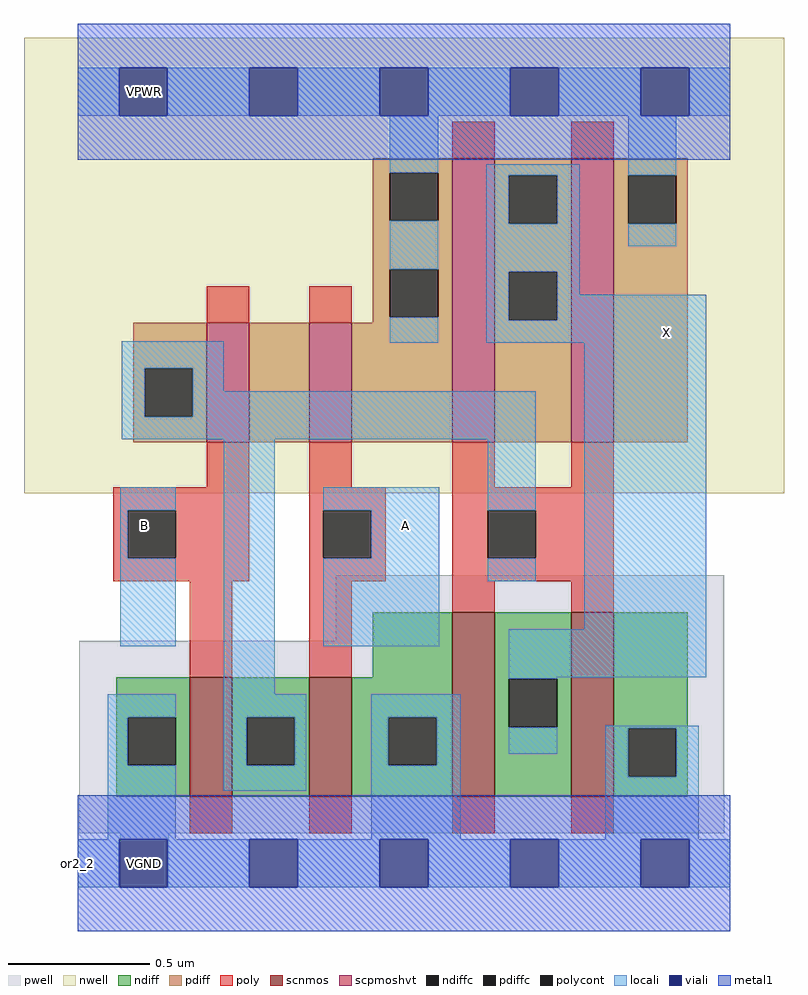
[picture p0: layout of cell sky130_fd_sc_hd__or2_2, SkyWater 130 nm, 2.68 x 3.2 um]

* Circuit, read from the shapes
.subckt sky130_fd_sc_hd__or2_2 VPWR VGND VPB VNB X A B
XM1 n1 B VGND VNB sky130_fd_pr__nfet_01v8 w=0.42 l=0.15
XM2 VGND A n1 VNB sky130_fd_pr__nfet_01v8 w=0.42 l=0.15
XM3 X n1 VGND VNB sky130_fd_pr__nfet_01v8 w=0.65 l=0.15 m=2
XM4 n2 B n1 VPB sky130_fd_pr__pfet_01v8_hvt w=0.42 l=0.15
XM5 VPWR A n2 VPB sky130_fd_pr__pfet_01v8_hvt w=0.42 l=0.15
XM6 X n1 VPWR VPB sky130_fd_pr__pfet_01v8_hvt w=1 l=0.15 m=2
.ends

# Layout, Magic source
magic
tech sky130B
magscale 1 2
<< nwell >>
rect -38 221 498 542
<< pwell >>
rect 182 117 456 163
rect 1 -19 456 117
rect 30 -57 64 -19
<< scnmos >>
rect 79 7 109 91
rect 163 7 193 91
rect 264 7 294 137
rect 348 7 378 137
<< scpmoshvt >>
rect 91 257 121 341
rect 163 257 193 341
rect 264 257 294 457
rect 348 257 378 457
<< ndiff >>
rect 208 91 264 137
rect 27 63 79 91
rect 27 29 35 63
rect 69 29 79 63
rect 27 7 79 29
rect 109 63 163 91
rect 109 29 119 63
rect 153 29 163 63
rect 109 7 163 29
rect 193 63 264 91
rect 193 29 219 63
rect 253 29 264 63
rect 193 7 264 29
rect 294 90 348 137
rect 294 56 304 90
rect 338 56 348 90
rect 294 7 348 56
rect 378 55 430 137
rect 378 21 388 55
rect 422 21 430 55
rect 378 7 430 21
<< pdiff >>
rect 208 447 264 457
rect 208 413 220 447
rect 254 413 264 447
rect 208 379 264 413
rect 208 345 220 379
rect 254 345 264 379
rect 208 341 264 345
rect 39 309 91 341
rect 39 275 47 309
rect 81 275 91 309
rect 39 257 91 275
rect 121 257 163 341
rect 193 257 264 341
rect 294 445 348 457
rect 294 411 304 445
rect 338 411 348 445
rect 294 377 348 411
rect 294 343 304 377
rect 338 343 348 377
rect 294 257 348 343
rect 378 445 430 457
rect 378 411 388 445
rect 422 411 430 445
rect 378 257 430 411
<< ndiffc >>
rect 35 29 69 63
rect 119 29 153 63
rect 219 29 253 63
rect 304 56 338 90
rect 388 21 422 55
<< pdiffc >>
rect 220 413 254 447
rect 220 345 254 379
rect 47 275 81 309
rect 304 411 338 445
rect 304 343 338 377
rect 388 411 422 445
<< poly >>
rect 264 457 294 483
rect 348 457 378 483
rect 91 341 121 367
rect 163 341 193 367
rect 91 225 121 257
rect 25 209 121 225
rect 25 175 35 209
rect 69 175 121 209
rect 25 159 121 175
rect 163 225 193 257
rect 264 225 294 257
rect 348 225 378 257
rect 163 209 217 225
rect 163 175 173 209
rect 207 175 217 209
rect 163 159 217 175
rect 264 209 378 225
rect 264 175 289 209
rect 323 175 378 209
rect 264 159 378 175
rect 79 91 109 159
rect 163 91 193 159
rect 264 137 294 159
rect 348 137 378 159
rect 79 -19 109 7
rect 163 -19 193 7
rect 264 -19 294 7
rect 348 -19 378 7
<< polycont >>
rect 35 175 69 209
rect 173 175 207 209
rect 289 175 323 209
<< locali >>
rect 0 487 29 521
rect 63 487 121 521
rect 155 487 213 521
rect 247 487 305 521
rect 339 487 397 521
rect 431 487 460 521
rect 220 447 254 487
rect 220 379 254 413
rect 31 309 103 328
rect 220 327 254 345
rect 288 445 354 453
rect 288 411 304 445
rect 338 411 354 445
rect 288 377 354 411
rect 388 445 422 487
rect 388 395 422 411
rect 288 343 304 377
rect 338 361 354 377
rect 338 343 443 361
rect 288 327 443 343
rect 31 275 47 309
rect 81 293 103 309
rect 81 275 323 293
rect 31 259 323 275
rect 30 209 69 225
rect 30 175 35 209
rect 30 113 69 175
rect 103 79 139 259
rect 173 209 255 225
rect 207 175 255 209
rect 173 113 255 175
rect 289 209 323 259
rect 289 159 323 175
rect 357 125 443 327
rect 304 91 443 125
rect 304 90 338 91
rect 21 63 69 79
rect 21 29 35 63
rect 21 -23 69 29
rect 103 63 161 79
rect 103 29 119 63
rect 153 29 161 63
rect 103 11 161 29
rect 207 63 270 79
rect 207 29 219 63
rect 253 29 270 63
rect 304 37 338 56
rect 372 55 438 57
rect 207 -23 270 29
rect 372 21 388 55
rect 422 21 438 55
rect 372 -23 438 21
rect 0 -57 29 -23
rect 63 -57 121 -23
rect 155 -57 213 -23
rect 247 -57 305 -23
rect 339 -57 397 -23
rect 431 -57 460 -23
<< viali >>
rect 29 487 63 521
rect 121 487 155 521
rect 213 487 247 521
rect 305 487 339 521
rect 397 487 431 521
rect 29 -57 63 -23
rect 121 -57 155 -23
rect 213 -57 247 -23
rect 305 -57 339 -23
rect 397 -57 431 -23
<< metal1 >>
rect 0 521 460 552
rect 0 487 29 521
rect 63 487 121 521
rect 155 487 213 521
rect 247 487 305 521
rect 339 487 397 521
rect 431 487 460 521
rect 0 456 460 487
rect 0 -23 460 8
rect 0 -57 29 -23
rect 63 -57 121 -23
rect 155 -57 213 -23
rect 247 -57 305 -23
rect 339 -57 397 -23
rect 431 -57 460 -23
rect 0 -88 460 -57
<< labels >>
rlabel comment s 0 -40 0 -40 4 or2_2
flabel metal1 s 30 487 64 521 0 FreeSans 200 0 0 0 VPWR
port 2 nsew
flabel metal1 s 30 -57 64 -23 0 FreeSans 200 0 0 0 VGND
port 3 nsew
flabel nwell s 30 487 64 521 0 FreeSans 200 0 0 0 VPB
port 5 nsew
flabel pwell s 30 -57 64 -23 0 FreeSans 200 0 0 0 VNB
port 6 nsew
flabel locali s 30 181 64 215 0 FreeSans 200 0 0 0 B
port 9 nsew
flabel locali s 398 317 432 351 0 FreeSans 200 0 0 0 X
port 7 nsew
flabel locali s 214 181 248 215 0 FreeSans 200 0 0 0 A
port 8 nsew
<< properties >>
string FIXED_BBOX 0 -40 460 504
string path 0.000 12.600 11.500 12.600 
<< end >>
